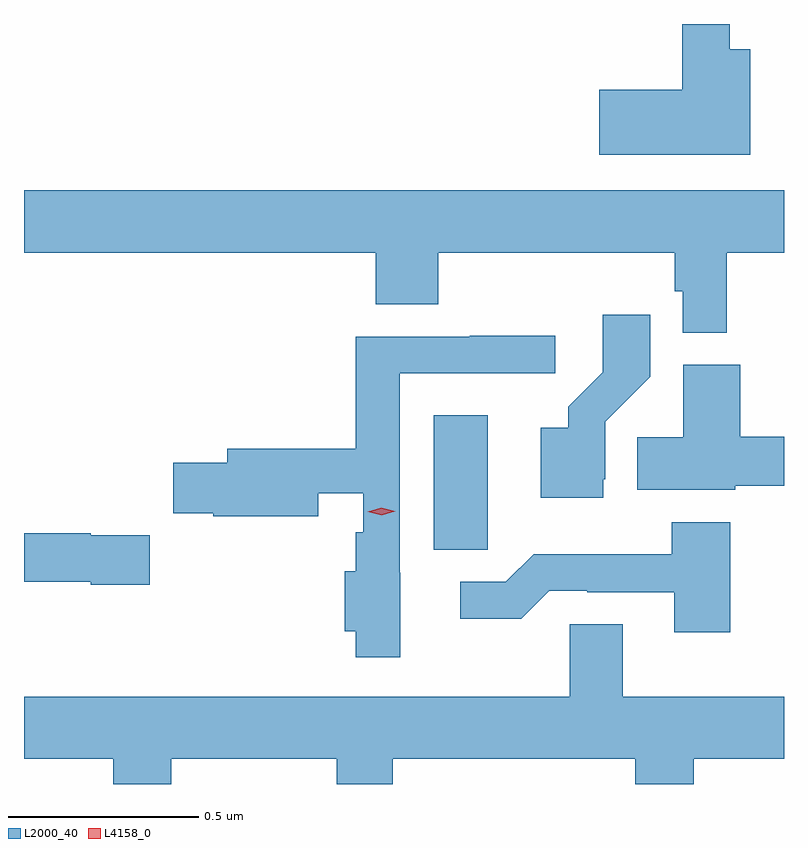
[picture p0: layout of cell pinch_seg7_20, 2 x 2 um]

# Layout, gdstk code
import gdstk
lib = gdstk.Library(unit=1e-6, precision=1e-09)
def P(c, l, *ps):  # polygons
    for p in ps: c.add(gdstk.Polygon(p, *l))
L2000_40 = (2000, 40)
L4158_0 = (4158, 0)

pinch_seg7_20 = lib.new_cell('pinch_seg7_20')
P(pinch_seg7_20, L2000_40, [(1023.559,1054.432),(1023.505,1054.432),(1023.505,1054.498),(1023.38,1054.498),(1023.38,1054.325),(1023.162,1054.325),(1023.162,1054.154),(1023.559,1054.154)],
  [(1023.497,1053.896),(1023.648,1053.896),(1023.648,1054.06),(1021.648,1054.06),(1021.648,1053.896),(1022.573,1053.896),(1022.573,1053.76),(1022.738,1053.76),(1022.738,1053.896),(1023.361,1053.896),(1023.361,1053.795),(1023.381,1053.795),(1023.381,1053.686),(1023.497,1053.686)],
  [(1023.172,1053.3),(1023.177,1053.3),(1023.177,1053.451),(1023.296,1053.57),(1023.296,1053.733),(1023.171,1053.733),(1023.171,1053.581),(1023.08,1053.491),(1023.08,1053.436),(1023.008,1053.436),(1023.008,1053.251),(1023.172,1053.251)],
  [(1022.638,1053.054),(1022.637,1053.054),(1022.637,1053.579),(1023.046,1053.579),(1023.046,1053.678),(1022.821,1053.678),(1022.821,1053.675),(1022.521,1053.675),(1022.521,1053.38),(1022.183,1053.38),(1022.183,1053.344),(1022.041,1053.344),(1022.041,1053.21),(1022.146,1053.21),(1022.146,1053.202),(1022.422,1053.202),(1022.422,1053.263),(1022.541,1053.263),(1022.541,1053.161),(1022.521,1053.161),(1022.521,1053.058),(1022.492,1053.058),(1022.492,1052.9),(1022.521,1052.9),(1022.521,1052.832),(1022.638,1052.832)],
  [(1023.52,1053.283),(1023.648,1053.283),(1023.648,1053.412),(1023.533,1053.412),(1023.533,1053.601),(1023.383,1053.601),(1023.383,1053.41),(1023.262,1053.41),(1023.262,1053.272),(1023.52,1053.272)],
  [(1022.868,1053.226),(1022.869,1053.226),(1022.869,1053.469),(1022.726,1053.469),(1022.726,1053.115),(1022.868,1053.115)],
  [(1023.507,1053.187),(1023.352,1053.187),(1023.352,1053.103),(1022.989,1053.103),(1022.916,1053.03),(1022.796,1053.03),(1022.796,1052.933),(1022.957,1052.933),(1023.03,1053.006),(1023.13,1053.006),(1023.13,1053.003),(1023.359,1053.003),(1023.359,1052.898),(1023.507,1052.898)],
  [(1021.979,1053.152),(1021.824,1053.152),(1021.824,1053.158),(1021.648,1053.158),(1021.648,1053.03),(1021.824,1053.03),(1021.824,1053.022),(1021.979,1053.022)],
  [(1022.035,1052.564),(1022.471,1052.564),(1022.471,1052.498),(1022.619,1052.498),(1022.619,1052.564),(1023.257,1052.564),(1023.257,1052.498),(1023.41,1052.498),(1023.41,1052.564),(1023.648,1052.564),(1023.648,1052.728),(1023.223,1052.728),(1023.223,1052.918),(1023.084,1052.918),(1023.084,1052.728),(1021.648,1052.728),(1021.648,1052.564),(1021.883,1052.564),(1021.883,1052.498),(1022.035,1052.498)])
P(pinch_seg7_20, L4158_0, [(1022.589,1053.205),(1022.553,1053.214),(1022.553,1053.214),(1022.553,1053.214),(1022.588,1053.225),(1022.625,1053.216),(1022.625,1053.216),(1022.625,1053.216)])

lib.write_gds('pinch_seg7_20.gds')
